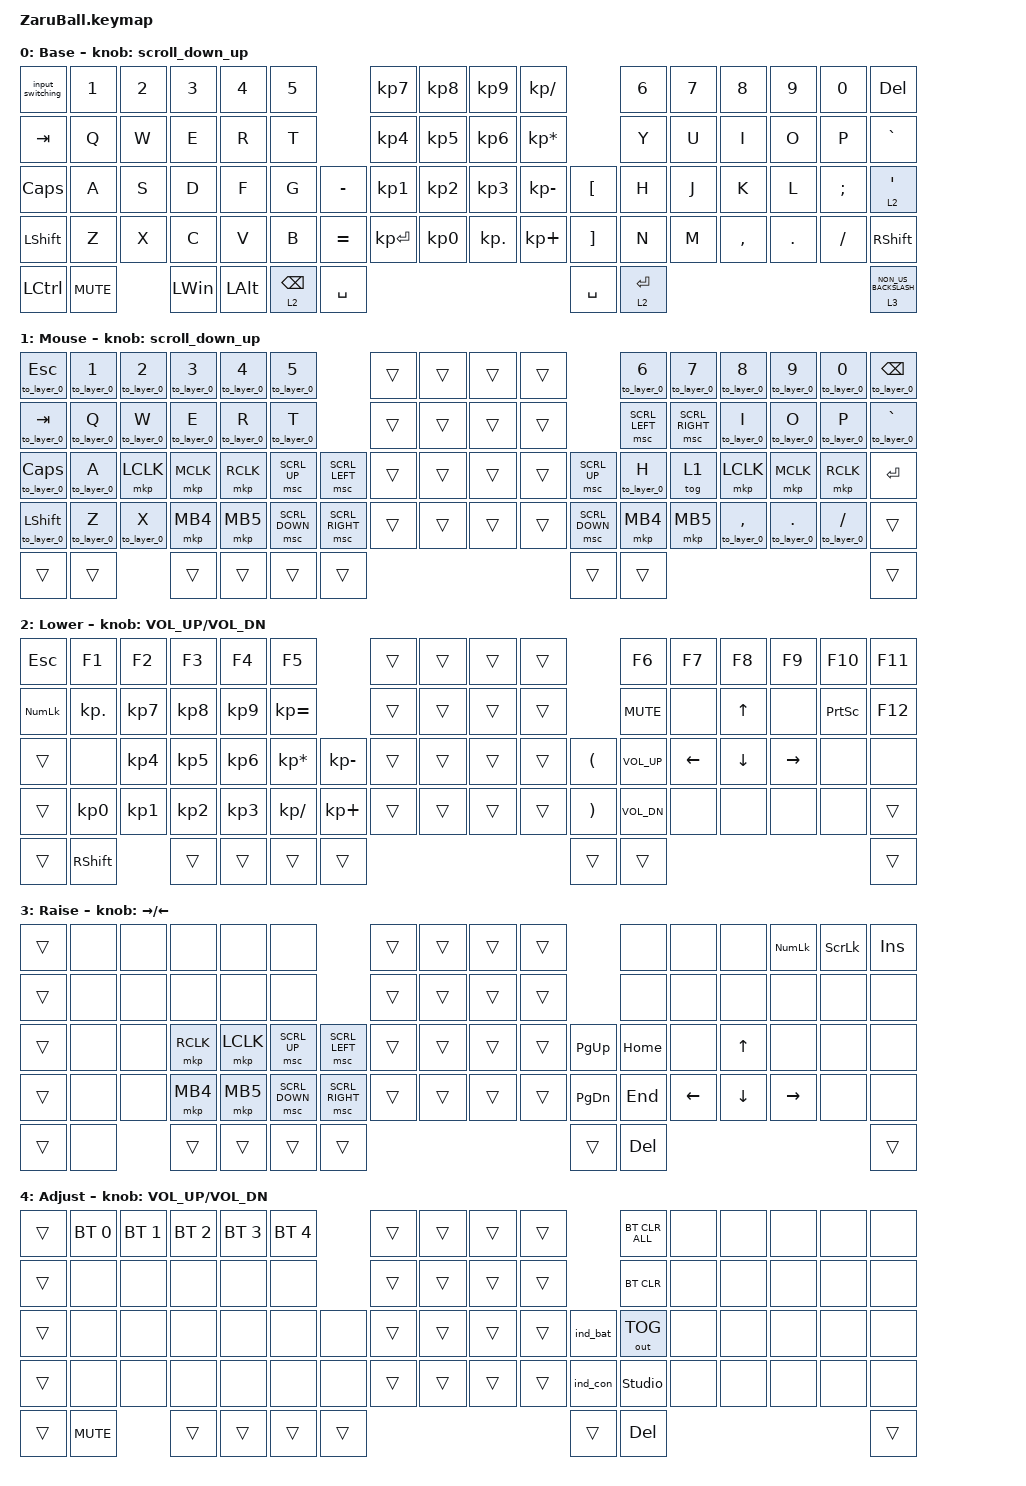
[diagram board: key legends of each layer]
//#include <dt-bindings/zmk/mouse.h>

#include <behaviors/rgbled_widget.dtsi>
#include <input/processors.dtsi>
#include <dt-bindings/zmk/input_transform.h>
#include <behaviors.dtsi>
#include <dt-bindings/zmk/bt.h>
#include <dt-bindings/zmk/keys.h>
#include <dt-bindings/zmk/outputs.h>
#include <dt-bindings/zmk/pointing.h>

#define BASE     0
#define MOUSE    1
#define LOWER    2
#define RAISE    3
#define ADJUST   4
#define SCROLL   2

// スクロール量の設定

#define ZMK_POINTING_DEFAULT_SCRL_VAL 100

&trackball_listener {
    input-processors = <
                         &zip_xy_transform (INPUT_TRANSFORM_XY_SWAP | INPUT_TRANSFORM_Y_INVERT | INPUT_TRANSFORM_X_INVERT)
                         /* ここに速度調整を追加（例：1 2 で 1/2倍 = 半分 の速度になります） */
                         &zip_xy_scaler 3 4 
                         /* タイムアウトを 5000ms (5秒) に延ばして勝手に抜けるのを防止 */
                         &zip_temp_layer MOUSE 5000
    >;

    scroller {
        layers = <SCROLL>;
        input-processors = <
                            &zip_xy_transform (INPUT_TRANSFORM_XY_SWAP | INPUT_TRANSFORM_X_INVERT)
                            &zip_xy_scaler 1 20
                            &zip_xy_to_scroll_mapper
        >;
    };
};

/* すでに存在する &zip_temp_layer の中身を拡張し、打鍵時の「進入猶予」を設定します */

&zip_temp_layer {
    /* キーボードのキー入力があった後、何ミリ秒間トラックボールの自動レイヤー移動を禁止するか */
    /* 150〜200ms 程度を設定することで、タイピング中の微振動による誤作動を完全に防げます */

    require-prior-idle-ms = <200>;
};

/ {
    conditional_layers {
        compatible = "zmk,conditional-layers";

        tri_layer {
            if-layers = <2 3>;
            then-layer = <4>;
        };
    };
};

/ {
    behaviors {
        // スクロール用のbehaviorの設定

        scroll_down_up: behavior_sensor_rotate_mouse_wheel_down_up {
            compatible = "zmk,behavior-sensor-rotate";
            #sensor-binding-cells = <0>;
            bindings = <&msc SCRL_DOWN>, <&msc SCRL_UP>;

            tap-ms = <20>; // スクロールのタップ時間
        };

        td0: tap_dance_0 {
            compatible = "zmk,behavior-tap-dance";
            #binding-cells = <0>;
            tapping-term-ms = <200>;
            bindings = <&mt LALT LANG2>, <&mo RAISE>, <&mo MOUSE>;
        };

        td1: tap_dance_1 {
            compatible = "zmk,behavior-tap-dance";
            #binding-cells = <0>;
            tapping-term-ms = <200>;
            bindings = <&mt RCTL LANG1>, <&mo RAISE>, <&mo MOUSE>;
        };

        // Customed Hold-Tap for SandS

        SandS: SandS {
            compatible = "zmk,behavior-hold-tap";
            #binding-cells = <2>;
            flavor = "tap-unless-interrupted";
            tapping-term-ms = <500>;
            quick-tap-ms = <500>;
            bindings = <&kp>, <&kp>;

            display-name = "SandS";
        };
    };
};

&sl { release-after-ms = <250>; }; // time needed for double click (for mkp_exit_AML)
/ {
    macros {
        // When in AML, move to default layer when key (except mouse button) pressed

        to_layer_0: to_layer_0 {
            compatible = "zmk,behavior-macro-one-param";
            #binding-cells = <1>;
            bindings = <&tog MOUSE &macro_param_1to1 &kp MACRO_PLACEHOLDER>;
            label = "TO_layer_0";
        };

        // When LCLK pressed, exit AML (after 250ms cause by sticky layer

        mkp_exit_AML: mkp_exit_AML {
            compatible = "zmk,behavior-macro-one-param";
            #binding-cells = <1>;
            bindings =
                <&macro_press>,
                <&macro_param_1to1 &mkp MACRO_PLACEHOLDER>,
                <&macro_pause_for_release>,
                <&macro_release>,
                <&macro_param_1to1 &mkp MACRO_PLACEHOLDER>,
                <&macro_tap>,
                <&sl MOUSE>;

            label = "MKP_EXIT_AML";
        };

        input_switching: input_switching {
            compatible = "zmk,behavior-macro";
            #binding-cells = <0>;
            bindings =
                <&macro_press>,
                <&kp LEFT_ALT>,
                <&macro_tap>,
                <&kp GRAVE>,
                <&macro_release>,
                <&kp LEFT_ALT>;

            label = "INPUT_SWITCHING";
        };
    };
};

/ {
    keymap {
        compatible = "zmk,keymap";

        base_layer {
            display-name = "Base";
            sensor-bindings = <&scroll_down_up>;
            bindings = <
&input_switching  &kp N1      &kp N2  &kp N3    &kp N4        &kp N5                        &kp KP_N7     &kp KP_N8  &kp KP_N9   &kp KP_DIVIDE                 &kp NUMBER_6  &kp N7  &kp N8     &kp N9   &kp N0    &kp DEL
&kp TAB           &kp Q       &kp W   &kp E     &kp R         &kp T                         &kp KP_N4     &kp KP_N5  &kp KP_N6   &kp KP_MULTIPLY               &kp Y         &kp U   &kp I      &kp O    &kp P     &kp GRAVE
&kp CAPS          &kp A       &kp S   &kp D     &kp F         &kp G            &kp MINUS    &kp KP_N1     &kp KP_N2  &kp KP_N3   &kp KP_MINUS       &kp LBKT   &kp H         &kp J   &kp K      &kp L    &kp SEMI  &lt 2 SQT
&kp LSHFT         &kp Z       &kp X   &kp C     &kp V         &kp B            &kp EQUAL    &kp KP_ENTER  &kp KP_N0  &kp KP_DOT  &kp KP_PLUS        &kp RBKT   &kp N         &kp M   &kp COMMA  &kp DOT  &kp FSLH  &kp RIGHT_SHIFT
&kp LEFT_CONTROL  &kp C_MUTE          &kp LWIN  &kp LEFT_ALT  &lt 2 BACKSPACE  &kp SPACE                                                            &kp SPACE  &lt 2 ENTER                                         &lt 3 NON_US_BACKSLASH
            >;
        };

        mouse_layer {
            display-name = "Mouse";
            sensor-bindings = <&scroll_down_up>;
            bindings = <
&to_layer_0 ESC     &to_layer_0 N1  &to_layer_0 N2  &to_layer_0 N3  &to_layer_0 N4  &to_layer_0 N5                     &trans  &trans  &trans  &trans                    &to_layer_0 NUMBER_6  &to_layer_0 NUMBER_7  &to_layer_0 N8     &to_layer_0 N9      &to_layer_0 N0     &to_layer_0 BACKSPACE
&to_layer_0 TAB     &to_layer_0 Q   &to_layer_0 W   &to_layer_0 E   &to_layer_0 R   &to_layer_0 T                      &trans  &trans  &trans  &trans                    &msc SCRL_LEFT        &msc SCRL_RIGHT       &to_layer_0 I      &to_layer_0 O       &to_layer_0 P      &to_layer_0 GRAVE
&to_layer_0 CAPS    &to_layer_0 A   &mkp LCLK       &mkp MCLK       &mkp RCLK       &msc SCRL_UP    &msc SCRL_LEFT     &trans  &trans  &trans  &trans    &msc SCRL_UP    &to_layer_0 H         &tog 1                &mkp LCLK          &mkp MCLK           &mkp RCLK          &kp ENTER
&to_layer_0 LSHIFT  &to_layer_0 Z   &to_layer_0 X   &mkp MB4        &mkp MB5        &msc SCRL_DOWN  &msc SCRL_RIGHT    &trans  &trans  &trans  &trans    &msc SCRL_DOWN  &mkp MB4              &mkp MB5              &to_layer_0 COMMA  &to_layer_0 PERIOD  &to_layer_0 SLASH  &trans
&trans              &trans                          &trans          &trans          &trans          &trans                                               &trans          &trans                                                                                                &trans
            >;
        };

        lower_layer {
            display-name = "Lower";
            sensor-bindings = <&inc_dec_kp C_VOL_UP C_VOL_DN>;
            bindings = <
&kp ESC     &kp F1           &kp F2           &kp F3           &kp F4           &kp F5                           &trans  &trans  &trans  &trans              &kp F6        &kp F7    &kp F8        &kp F9     &kp F10          &kp F11
&kp KP_NUM  &kp KP_DOT       &kp KP_NUMBER_7  &kp KP_NUMBER_8  &kp KP_NUMBER_9  &kp KP_EQUAL                     &trans  &trans  &trans  &trans              &kp K_MUTE    &none     &kp UP_ARROW  &none      &kp PRINTSCREEN  &kp F12
&trans      &none            &kp KP_NUMBER_4  &kp KP_NUMBER_5  &kp KP_NUMBER_6  &kp KP_MULTIPLY  &kp KP_MINUS    &trans  &trans  &trans  &trans    &kp LPAR  &kp C_VOL_UP  &kp LEFT  &kp DOWN      &kp RIGHT  &none            &none
&trans      &kp KP_NUMBER_0  &kp KP_NUMBER_1  &kp KP_NUMBER_2  &kp KP_NUMBER_3  &kp KP_SLASH     &kp KP_PLUS     &trans  &trans  &trans  &trans    &kp RPAR  &kp C_VOL_DN  &none     &none         &none      &none            &trans
&trans      &kp RSHFT                         &trans           &trans           &trans           &trans                                            &trans    &trans                                                            &trans
            >;
        };

        raise_layer {
            display-name = "Raise";
            sensor-bindings = <&inc_dec_kp RIGHT LEFT>;
            bindings = <
&trans  &none  &none  &none      &none      &none                              &trans  &trans  &trans  &trans               &none     &none     &none     &kp KP_NUMLOCK  &kp SCROLLLOCK  &kp INS
&trans  &none  &none  &none      &none      &none                              &trans  &trans  &trans  &trans               &none     &none     &none     &none           &none           &none
&trans  &none  &none  &mkp RCLK  &mkp LCLK  &msc SCRL_UP    &msc SCRL_LEFT     &trans  &trans  &trans  &trans    &kp PG_UP  &kp HOME  &none     &kp UP    &none           &none           &none
&trans  &none  &none  &mkp MB4   &mkp MB5   &msc SCRL_DOWN  &msc SCRL_RIGHT    &trans  &trans  &trans  &trans    &kp PG_DN  &kp END   &kp LEFT  &kp DOWN  &kp RIGHT       &none           &none
&trans  &none         &trans     &trans     &trans          &trans                                               &trans     &kp DEL                                                       &trans
            >;
        };

        adjust_layer {
            display-name = "Adjust";
            sensor-bindings = <&inc_dec_kp C_VOL_UP C_VOL_DN>;
            bindings = <
&trans  &bt BT_SEL 0  &bt BT_SEL 1  &bt BT_SEL 2  &bt BT_SEL 3  &bt BT_SEL 4            &trans  &trans  &trans  &trans              &bt BT_CLR_ALL  &none  &none  &none  &none  &none
&trans  &none         &none         &none         &none         &none                   &trans  &trans  &trans  &trans              &bt BT_CLR      &none  &none  &none  &none  &none
&trans  &none         &none         &none         &none         &none         &none     &trans  &trans  &trans  &trans    &ind_bat  &out OUT_TOG    &none  &none  &none  &none  &none
&trans  &none         &none         &none         &none         &none         &none     &trans  &trans  &trans  &trans    &ind_con  &studio_unlock  &none  &none  &none  &none  &none
&trans  &kp C_MUTE                  &trans        &trans        &trans        &trans                                      &trans    &kp DEL                                     &trans
            >;
        };

        // Extra layer can be added in ZMK STUDIO

        extra1 { status = "reserved"; };

        extra2 { status = "reserved"; };
    };
};
